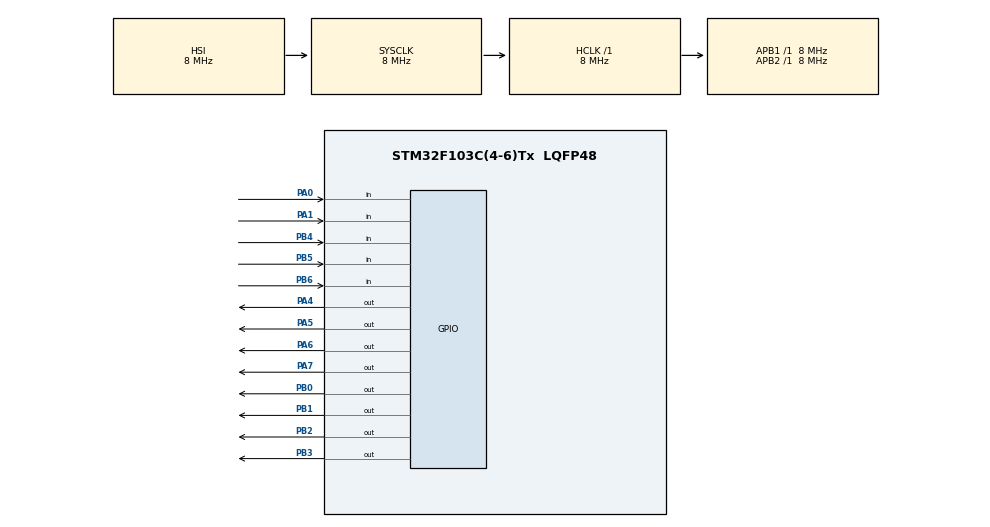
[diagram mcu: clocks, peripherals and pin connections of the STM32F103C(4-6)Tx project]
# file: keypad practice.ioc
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Mcu.Family=STM32F1
Mcu.Name=STM32F103C(4-6)Tx
Mcu.Package=LQFP48
NVIC.PriorityGroup=NVIC_PRIORITYGROUP_4
PA0-WKUP.GPIO_PuPd=GPIO_NOPULL
PA0-WKUP.Signal=GPIO_Input
PA1.GPIO_PuPd=GPIO_NOPULL
PA1.Signal=GPIO_Input
PA13.Mode=Serial_Wire
PA13.Signal=SYS_JTMS-SWDIO
PA14.Mode=Serial_Wire
PA14.Signal=SYS_JTCK-SWCLK
PA4.Signal=GPIO_Output
PA5.Signal=GPIO_Output
PA6.Signal=GPIO_Output
PA7.Signal=GPIO_Output
PB0.Signal=GPIO_Output
PB1.Signal=GPIO_Output
PB2.Signal=GPIO_Output
PB3.Signal=GPIO_Output
PB4.GPIO_PuPd=GPIO_PULLUP
PB4.Signal=GPIO_Input
PB5.GPIO_PuPd=GPIO_PULLUP
PB5.Signal=GPIO_Input
PB6.GPIO_PuPd=GPIO_PULLUP
PB6.Signal=GPIO_Input
PD0-OSC_IN.Mode=HSE-External-Oscillator
PD0-OSC_IN.Signal=RCC_OSC_IN
PD1-OSC_OUT.Mode=HSE-External-Oscillator
PD1-OSC_OUT.Signal=RCC_OSC_OUT
ProjectManager.HeapSize=0x200
ProjectManager.StackSize=0x400
ProjectManager.TargetToolchain=STM32CubeIDE
RCC.AHBFreq_Value=8000000
RCC.APB1Freq_Value=8000000
RCC.APB1TimFreq_Value=8000000
RCC.APB2Freq_Value=8000000
RCC.APB2TimFreq_Value=8000000
RCC.HCLKFreq_Value=8000000
RCC.HSEDivPLL=RCC_HSE_PREDIV_DIV2
RCC.HSE_VALUE=4000000
RCC.PLLSourceVirtual=RCC_PLLSOURCE_HSE
RCC.SYSCLKFreq_VALUE=8000000
RCC.USBFreq_Value=4000000
board=custom

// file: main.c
/* USER CODE BEGIN Header */
/**
  ******************************************************************************
  * @file           : main.c
  * @brief          : Main program body
  ******************************************************************************
  * @attention
  *
  * Copyright (c) 2026 STMicroelectronics.
  * All rights reserved.
  *
  * This software is licensed under terms that can be found in the LICENSE file
  * in the root directory of this software component.
  * If no LICENSE file comes with this software, it is provided AS-IS.
  *
  ******************************************************************************
  */
/* USER CODE END Header */
#include "main.h"

/* USER CODE BEGIN PV */
void lcd_enable()
{
	HAL_GPIO_WritePin(GPIOA, GPIO_PIN_1, GPIO_PIN_SET);
	HAL_Delay(10);
	HAL_GPIO_WritePin(GPIOA, GPIO_PIN_1, GPIO_PIN_RESET);
	HAL_Delay(10);
}
void seprate(uint8_t a)
{
	HAL_GPIO_WritePin(GPIOA, GPIO_PIN_4, (a & 1<<0)? GPIO_PIN_SET : GPIO_PIN_RESET);
	HAL_GPIO_WritePin(GPIOA, GPIO_PIN_5, (a & 1<<1)? GPIO_PIN_SET : GPIO_PIN_RESET);
	HAL_GPIO_WritePin(GPIOA, GPIO_PIN_6, (a & 1<<2)? GPIO_PIN_SET : GPIO_PIN_RESET);
	HAL_GPIO_WritePin(GPIOA, GPIO_PIN_7, (a & 1<<3)? GPIO_PIN_SET : GPIO_PIN_RESET);
	lcd_enable();
}
void cmd(uint8_t data)
{
	uint8_t high;
	uint8_t low;
	high = data >>4;
	low = data & 0x0F;
	HAL_GPIO_WritePin(GPIOA, GPIO_PIN_0, GPIO_PIN_RESET);
	seprate(high);
	seprate(low);
}
void dat(uint8_t data)
{
	uint8_t high;
	uint8_t low;
	high = data >>4;
	low = data & 0x0F;
	HAL_GPIO_WritePin(GPIOA, GPIO_PIN_0, GPIO_PIN_SET);
	seprate(high);
	seprate(low);
}
void lcd_init()
{
	HAL_Delay(10);
	seprate(0x03);
	HAL_Delay(5);
	seprate(0x03);
	HAL_Delay(5);
	seprate(0x03);
	HAL_Delay(5);
	seprate(0x02);
	HAL_Delay(5);

	cmd(0x28);
	HAL_Delay(10);

	cmd(0x0C);
	HAL_Delay(10);

	cmd(0x01);
	HAL_Delay(10);

	cmd(0x06);
	HAL_Delay(10);
}
void display(char *str)
{
	while(*str)
	{
		dat(*str++);
	}
}
void keypad_init()
{
	HAL_GPIO_WritePin(GPIOB, GPIO_PIN_0, GPIO_PIN_RESET);
	HAL_GPIO_WritePin(GPIOB, GPIO_PIN_1, GPIO_PIN_RESET);
	HAL_GPIO_WritePin(GPIOB, GPIO_PIN_2, GPIO_PIN_RESET);
	HAL_GPIO_WritePin(GPIOB, GPIO_PIN_3, GPIO_PIN_RESET);
}

uint8_t key()
{
	HAL_GPIO_WritePin(GPIOB, GPIO_PIN_0, GPIO_PIN_RESET);
	HAL_GPIO_WritePin(GPIOB, GPIO_PIN_1 | GPIO_PIN_2 | GPIO_PIN_3, GPIO_PIN_SET);
	if(HAL_GPIO_ReadPin(GPIOB, GPIO_PIN_4)==GPIO_PIN_RESET)
	{
		HAL_Delay(1);
		while(HAL_GPIO_ReadPin(GPIOB, GPIO_PIN_4)==GPIO_PIN_RESET);
		HAL_GPIO_WritePin(GPIOB, GPIO_PIN_0, GPIO_PIN_SET);
		HAL_Delay(50);
		return '1';
	}
	if(HAL_GPIO_ReadPin(GPIOB, GPIO_PIN_5)==GPIO_PIN_RESET)
	{
		HAL_Delay(1);
		while(HAL_GPIO_ReadPin(GPIOB, GPIO_PIN_5)==GPIO_PIN_RESET);
		HAL_GPIO_WritePin(GPIOB, GPIO_PIN_0, GPIO_PIN_SET);
		HAL_Delay(50);
		return '2';
	}
	if(HAL_GPIO_ReadPin(GPIOB, GPIO_PIN_6)==GPIO_PIN_RESET)
	{
		HAL_Delay(10);
		while(HAL_GPIO_ReadPin(GPIOB, GPIO_PIN_6)==GPIO_PIN_RESET);
		HAL_GPIO_WritePin(GPIOB, GPIO_PIN_0, GPIO_PIN_SET);
		HAL_Delay(50);
		return '3';
	}

	HAL_GPIO_WritePin(GPIOB, GPIO_PIN_1, GPIO_PIN_RESET);
	HAL_GPIO_WritePin(GPIOB, GPIO_PIN_0 | GPIO_PIN_2 | GPIO_PIN_3, GPIO_PIN_SET);
	if(HAL_GPIO_ReadPin(GPIOB, GPIO_PIN_4)==GPIO_PIN_RESET)
	{
		HAL_Delay(1);
		while(HAL_GPIO_ReadPin(GPIOB, GPIO_PIN_4)==GPIO_PIN_RESET);
		HAL_GPIO_WritePin(GPIOB, GPIO_PIN_1, GPIO_PIN_SET);
		HAL_Delay(50);
		return '4';
	}
	if(HAL_GPIO_ReadPin(GPIOB, GPIO_PIN_5)==GPIO_PIN_RESET)
	{
		HAL_Delay(1);
		while(HAL_GPIO_ReadPin(GPIOB, GPIO_PIN_5)==GPIO_PIN_RESET);
		HAL_GPIO_WritePin(GPIOB, GPIO_PIN_1, GPIO_PIN_SET);
		HAL_Delay(50);
		return '5';
	}
	if(HAL_GPIO_ReadPin(GPIOB, GPIO_PIN_6)==GPIO_PIN_RESET)
	{
		HAL_Delay(1);
		while(HAL_GPIO_ReadPin(GPIOB, GPIO_PIN_6)==GPIO_PIN_RESET);
		HAL_GPIO_WritePin(GPIOB, GPIO_PIN_1, GPIO_PIN_SET);
		HAL_Delay(50);
		return '6';
	}

	HAL_GPIO_WritePin(GPIOB, GPIO_PIN_2, GPIO_PIN_RESET);
	HAL_GPIO_WritePin(GPIOB, GPIO_PIN_1 | GPIO_PIN_0 | GPIO_PIN_3, GPIO_PIN_SET);
	if(HAL_GPIO_ReadPin(GPIOB, GPIO_PIN_4)==GPIO_PIN_RESET)
	{
		HAL_Delay(1);
		while(HAL_GPIO_ReadPin(GPIOB, GPIO_PIN_4)==GPIO_PIN_RESET);
		HAL_GPIO_WritePin(GPIOB, GPIO_PIN_2, GPIO_PIN_SET);
		HAL_Delay(50);
		return '7';
	}
	if(HAL_GPIO_ReadPin(GPIOB, GPIO_PIN_5)==GPIO_PIN_RESET)
	{
		HAL_Delay(1);
		while(HAL_GPIO_ReadPin(GPIOB, GPIO_PIN_5)==GPIO_PIN_RESET);
		HAL_GPIO_WritePin(GPIOB, GPIO_PIN_2, GPIO_PIN_SET);
		HAL_Delay(50);
		return '8';
	}
	if(HAL_GPIO_ReadPin(GPIOB, GPIO_PIN_6)==GPIO_PIN_RESET)
	{
		HAL_Delay(10);
		while(HAL_GPIO_ReadPin(GPIOB, GPIO_PIN_6)==GPIO_PIN_RESET);
		HAL_GPIO_WritePin(GPIOB, GPIO_PIN_2, GPIO_PIN_SET);
		HAL_Delay(50);
		return '9';
	}

	HAL_GPIO_WritePin(GPIOB, GPIO_PIN_3, GPIO_PIN_RESET);
	HAL_GPIO_WritePin(GPIOB, GPIO_PIN_1 | GPIO_PIN_2 | GPIO_PIN_0, GPIO_PIN_SET);
	if(HAL_GPIO_ReadPin(GPIOB, GPIO_PIN_4)==GPIO_PIN_RESET)
	{
		HAL_Delay(10);
		while(HAL_GPIO_ReadPin(GPIOB, GPIO_PIN_4)==GPIO_PIN_RESET);
		HAL_GPIO_WritePin(GPIOB, GPIO_PIN_3, GPIO_PIN_SET);
		HAL_Delay(50);
		return '*';
	}
	if(HAL_GPIO_ReadPin(GPIOB, GPIO_PIN_5)==GPIO_PIN_RESET)
	{
		HAL_Delay(1);

		while(HAL_GPIO_ReadPin(GPIOB, GPIO_PIN_5)==GPIO_PIN_RESET);
		HAL_GPIO_WritePin(GPIOB, GPIO_PIN_3, GPIO_PIN_SET);
		HAL_Delay(50);
		return '0';
	}
	if(HAL_GPIO_ReadPin(GPIOB, GPIO_PIN_6)==GPIO_PIN_RESET)
	{
		HAL_Delay(10);
		while(HAL_GPIO_ReadPin(GPIOB, GPIO_PIN_6)==GPIO_PIN_RESET);
		HAL_GPIO_WritePin(GPIOB, GPIO_PIN_3, GPIO_PIN_SET);
		HAL_Delay(50);
		return '#';
	}

	return 0;

}
/* USER CODE END PV */

void SystemClock_Config(void);
static void MX_GPIO_Init(void);

int main(void)
{

  /* MCU Configuration--------------------------------------------------------*/

  /* Reset of all peripherals, Initializes the Flash interface and the Systick. */
  HAL_Init();

  /* Configure the system clock */
  SystemClock_Config();

  /* Initialize all configured peripherals */
  MX_GPIO_Init();

  /* Infinite loop */
  while (1)
  {
	  a=key();

	  if(a!=0)
	  {
		  display("KEY PRESSED");
		  dat(a);
		  HAL_Delay(200);
	  }

  }
}

void SystemClock_Config(void)
{
  RCC_OscInitTypeDef RCC_OscInitStruct = {0};
  RCC_ClkInitTypeDef RCC_ClkInitStruct = {0};

  /** Initializes the RCC Oscillators according to the specified parameters
  * in the RCC_OscInitTypeDef structure.
  */
  RCC_OscInitStruct.OscillatorType = RCC_OSCILLATORTYPE_HSI;
  RCC_OscInitStruct.HSIState = RCC_HSI_ON;
  RCC_OscInitStruct.HSICalibrationValue = RCC_HSICALIBRATION_DEFAULT;
  RCC_OscInitStruct.PLL.PLLState = RCC_PLL_NONE;
  if (HAL_RCC_OscConfig(&RCC_OscInitStruct) != HAL_OK)
  {
    Error_Handler();
  }

  /** Initializes the CPU, AHB and APB buses clocks
  */
  RCC_ClkInitStruct.ClockType = RCC_CLOCKTYPE_HCLK|RCC_CLOCKTYPE_SYSCLK
                              |RCC_CLOCKTYPE_PCLK1|RCC_CLOCKTYPE_PCLK2;
  RCC_ClkInitStruct.SYSCLKSource = RCC_SYSCLKSOURCE_HSI;
  RCC_ClkInitStruct.AHBCLKDivider = RCC_SYSCLK_DIV1;
  RCC_ClkInitStruct.APB1CLKDivider = RCC_HCLK_DIV1;
  RCC_ClkInitStruct.APB2CLKDivider = RCC_HCLK_DIV1;

  if (HAL_RCC_ClockConfig(&RCC_ClkInitStruct, FLASH_LATENCY_0) != HAL_OK)
  {
    Error_Handler();
  }
}

static void MX_GPIO_Init(void)
{
  GPIO_InitTypeDef GPIO_InitStruct = {0};

  /* GPIO Ports Clock Enable */
  __HAL_RCC_GPIOD_CLK_ENABLE();
  __HAL_RCC_GPIOA_CLK_ENABLE();
  __HAL_RCC_GPIOB_CLK_ENABLE();

  /*Configure GPIO pin Output Level */
  HAL_GPIO_WritePin(GPIOA, GPIO_PIN_4|GPIO_PIN_5|GPIO_PIN_6|GPIO_PIN_7, GPIO_PIN_RESET);

  /*Configure GPIO pin Output Level */
  HAL_GPIO_WritePin(GPIOB, GPIO_PIN_0|GPIO_PIN_1|GPIO_PIN_2|GPIO_PIN_3, GPIO_PIN_RESET);

  /*Configure GPIO pins : PA0 PA1 */
  GPIO_InitStruct.Pin = GPIO_PIN_0|GPIO_PIN_1;
  GPIO_InitStruct.Mode = GPIO_MODE_INPUT;
  GPIO_InitStruct.Pull = GPIO_NOPULL;
  HAL_GPIO_Init(GPIOA, &GPIO_InitStruct);

  /*Configure GPIO pins : PA4 PA5 PA6 PA7 */
  GPIO_InitStruct.Pin = GPIO_PIN_4|GPIO_PIN_5|GPIO_PIN_6|GPIO_PIN_7;
  GPIO_InitStruct.Mode = GPIO_MODE_OUTPUT_PP;
  GPIO_InitStruct.Pull = GPIO_NOPULL;
  GPIO_InitStruct.Speed = GPIO_SPEED_FREQ_LOW;
  HAL_GPIO_Init(GPIOA, &GPIO_InitStruct);

  /*Configure GPIO pins : PB0 PB1 PB2 PB3 */
  GPIO_InitStruct.Pin = GPIO_PIN_0|GPIO_PIN_1|GPIO_PIN_2|GPIO_PIN_3;
  GPIO_InitStruct.Mode = GPIO_MODE_OUTPUT_PP;
  GPIO_InitStruct.Pull = GPIO_NOPULL;
  GPIO_InitStruct.Speed = GPIO_SPEED_FREQ_LOW;
  HAL_GPIO_Init(GPIOB, &GPIO_InitStruct);

  /*Configure GPIO pins : PB4 PB5 PB6 */
  GPIO_InitStruct.Pin = GPIO_PIN_4|GPIO_PIN_5|GPIO_PIN_6;
  GPIO_InitStruct.Mode = GPIO_MODE_INPUT;
  GPIO_InitStruct.Pull = GPIO_PULLUP;
  HAL_GPIO_Init(GPIOB, &GPIO_InitStruct);

}

void Error_Handler(void)
{
  __disable_irq();
  while (1)
  {
  }
}
